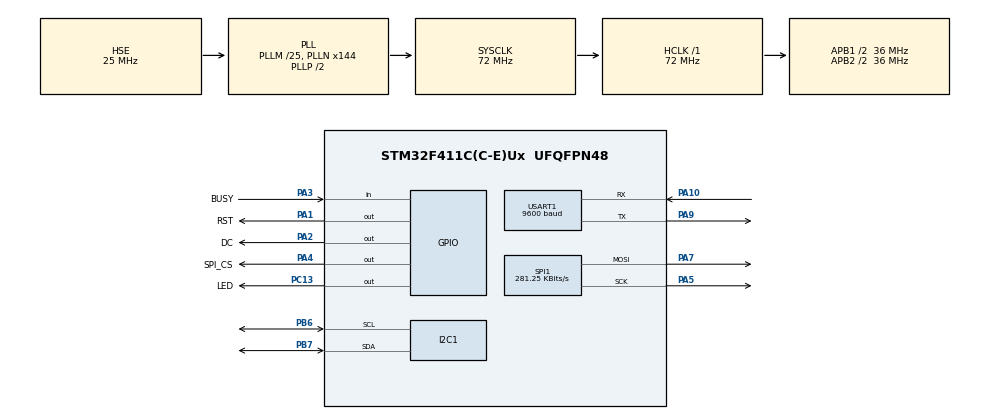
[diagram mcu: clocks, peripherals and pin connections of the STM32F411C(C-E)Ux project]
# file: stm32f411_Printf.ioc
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Mcu.Family=STM32F4
Mcu.Name=STM32F411C(C-E)Ux
Mcu.Package=UFQFPN48
NVIC.PriorityGroup=NVIC_PRIORITYGROUP_4
NVIC.USART1_IRQn=true\:0\:0\:false\:false\:true\:true\:true\:true
PA1.GPIO_Label=RST
PA1.Signal=GPIO_Output
PA10.Mode=Asynchronous
PA10.Signal=USART1_RX
PA13.Mode=Serial_Wire
PA13.Signal=SYS_JTMS-SWDIO
PA14.Mode=Serial_Wire
PA14.Signal=SYS_JTCK-SWCLK
PA2.GPIO_Label=DC
PA2.Signal=GPIO_Output
PA3.GPIO_Label=BUSY
PA3.Signal=GPIO_Input
PA4.GPIO_Label=SPI_CS
PA4.Signal=GPIO_Output
PA5.Mode=TX_Only_Simplex_Unidirect_Master
PA5.Signal=SPI1_SCK
PA7.Mode=TX_Only_Simplex_Unidirect_Master
PA7.Signal=SPI1_MOSI
PA9.Mode=Asynchronous
PA9.Signal=USART1_TX
PB6.Mode=I2C
PB6.Signal=I2C1_SCL
PB7.Mode=I2C
PB7.Signal=I2C1_SDA
PC13-ANTI_TAMP.GPIO_Label=LED
PC13-ANTI_TAMP.PinState=GPIO_PIN_SET
PC13-ANTI_TAMP.Signal=GPIO_Output
PC14-OSC32_IN.Mode=LSE-External-Oscillator
PC14-OSC32_IN.Signal=RCC_OSC32_IN
PC15-OSC32_OUT.Mode=LSE-External-Oscillator
PC15-OSC32_OUT.Signal=RCC_OSC32_OUT
PH0\ -\ OSC_IN.Mode=HSE-External-Oscillator
PH0\ -\ OSC_IN.Signal=RCC_OSC_IN
PH1\ -\ OSC_OUT.Mode=HSE-External-Oscillator
PH1\ -\ OSC_OUT.Signal=RCC_OSC_OUT
ProjectManager.HeapSize=0x800
ProjectManager.StackSize=0x400
ProjectManager.TargetToolchain=STM32CubeIDE
RCC.48MHZClocksFreq_Value=28800000
RCC.AHBFreq_Value=72000000
RCC.APB1CLKDivider=RCC_HCLK_DIV2
RCC.APB1Freq_Value=36000000
RCC.APB1TimFreq_Value=72000000
RCC.APB2CLKDivider=RCC_HCLK_DIV2
RCC.APB2Freq_Value=36000000
RCC.APB2TimFreq_Value=72000000
RCC.CortexFreq_Value=72000000
RCC.HCLKFreq_Value=72000000
RCC.HSE_VALUE=25000000
RCC.HSI_VALUE=16000000
RCC.PLLM=25
RCC.PLLN=144
RCC.PLLQ=5
RCC.PLLSourceVirtual=RCC_PLLSOURCE_HSE
RCC.RCC_RTC_Clock_Source=RCC_RTCCLKSOURCE_LSI
RCC.RCC_RTC_Clock_SourceVirtual=RCC_RTCCLKSOURCE_LSE
RCC.SYSCLKFreq_VALUE=72000000
RCC.SYSCLKSource=RCC_SYSCLKSOURCE_PLLCLK
RCC.VCOOutputFreq_Value=144000000
SPI1.BaudRatePrescaler=SPI_BAUDRATEPRESCALER_128
SPI1.CalculateBaudRate=281.25 KBits/s
SPI1.Direction=SPI_DIRECTION_2LINES
SPI1.Mode=SPI_MODE_MASTER
SPI1.VirtualType=VM_MASTER
USART1.BaudRate=9600
USART1.Mode=MODE_RX
USART1.VirtualMode=VM_ASYNC
VP_RTC_VS_RTC_Activate.Mode=RTC_Enabled
board=custom

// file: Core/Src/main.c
/* USER CODE BEGIN Header */
/**
  ******************************************************************************
  * @file           : main.c
  * @brief          : Main program body
  ******************************************************************************
  * @attention
  *
  * <h2><center>&copy; Copyright (c) 2019 STMicroelectronics.
  * All rights reserved.</center></h2>
  *
  * This software component is licensed by ST under Ultimate Liberty license
  * SLA0044, the "License"; You may not use this file except in compliance with
  * the License. You may obtain a copy of the License at:
  *                             www.st.com/SLA0044
  *
  ******************************************************************************
  */
/* USER CODE END Header */
#include "main.h"
#include "i2c.h"
#include "rtc.h"
#include "spi.h"
#include "usart.h"
#include "gpio.h"

/* USER CODE BEGIN Includes */
#include "EPD_Test.h"
#include "EpaperDisplay.h"
#include "string.h"
/* USER CODE END Includes */

/* USER CODE BEGIN PTD */
#ifdef __GNUC__
/* With GCC, small printf (option LD Linker->Libraries->Small printf
   set to 'Yes') calls __io_putchar() */
#define PUTCHAR_PROTOTYPE int __io_putchar(int ch)
#else
#define PUTCHAR_PROTOTYPE int fputc(int ch, FILE *f)
#endif /* __GNUC__ */

/**
  * @brief  Retargets the C library printf function to the USART.
  * @param  None
  * @retval None
  */
PUTCHAR_PROTOTYPE
{
  /* Place your implementation of fputc here */
  /* e.g. write a character to the USART3 and Loop until the end of transmission */
  //HAL_UART_Transmit(&huart1, (uint8_t *)&ch, 1, 0xFFFF);

  return ch;
}
/* USER CODE END PTD */

/* USER CODE BEGIN PD */

uint8_t dataArray[32];

/* USER CODE END PD */

void SystemClock_Config(void);

/* USER CODE BEGIN 0 */
 /*
  *power by WeAct Studio
  *The board with `WeAct` Logo && `version number` is our board, quality guarantee.
  *For more information please visit: https://github.com/WeActTC/MiniF4-STM32F4x1
  *更多信�?�请访问：https://gitee.com/WeActTC/MiniF4-STM32F4x1
  */

void HAL_UART_RxCpltCallback(UART_HandleTypeDef *huart) {
    if (huart == &huart1) {
        // Process received data
        // For example, you can print the received data to a terminal

        // Restart the UART reception
        HAL_UART_Receive_IT(&huart1, dataArray, 32);
    }
}
/* USER CODE END 0 */

int main(void)
{

  /* MCU Configuration--------------------------------------------------------*/

  /* Reset of all peripherals, Initializes the Flash interface and the Systick. */
  HAL_Init();

  /* Configure the system clock */
  SystemClock_Config();

  /* Initialize all configured peripherals */
  MX_GPIO_Init();
  MX_RTC_Init();
  MX_I2C1_Init();
  MX_SPI1_Init();
  MX_USART1_UART_Init();
  /* USER CODE BEGIN 2 */
  //EPD_4in2_test();

  /* USER CODE END 2 */

  /* Infinite loop */
  /* USER CODE BEGIN WHILE */

  HAL_Delay(5000);
  uint8_t value = 0;
  while (1)
  {
//	  displayData(dataArray[value]);
//	  HAL_Delay(10000);
//	  value++;
    /* USER CODE END WHILE */

  }
}

void SystemClock_Config(void)
{
  RCC_OscInitTypeDef RCC_OscInitStruct = {0};
  RCC_ClkInitTypeDef RCC_ClkInitStruct = {0};

  /** Configure the main internal regulator output voltage
  */
  __HAL_RCC_PWR_CLK_ENABLE();
  __HAL_PWR_VOLTAGESCALING_CONFIG(PWR_REGULATOR_VOLTAGE_SCALE1);

  /** Initializes the RCC Oscillators according to the specified parameters
  * in the RCC_OscInitTypeDef structure.
  */
  RCC_OscInitStruct.OscillatorType = RCC_OSCILLATORTYPE_LSI|RCC_OSCILLATORTYPE_HSE;
  RCC_OscInitStruct.HSEState = RCC_HSE_ON;
  RCC_OscInitStruct.LSIState = RCC_LSI_ON;
  RCC_OscInitStruct.PLL.PLLState = RCC_PLL_ON;
  RCC_OscInitStruct.PLL.PLLSource = RCC_PLLSOURCE_HSE;
  RCC_OscInitStruct.PLL.PLLM = 25;
  RCC_OscInitStruct.PLL.PLLN = 144;
  RCC_OscInitStruct.PLL.PLLP = RCC_PLLP_DIV2;
  RCC_OscInitStruct.PLL.PLLQ = 5;
  if (HAL_RCC_OscConfig(&RCC_OscInitStruct) != HAL_OK)
  {
    Error_Handler();
  }

  /** Initializes the CPU, AHB and APB buses clocks
  */
  RCC_ClkInitStruct.ClockType = RCC_CLOCKTYPE_HCLK|RCC_CLOCKTYPE_SYSCLK
                              |RCC_CLOCKTYPE_PCLK1|RCC_CLOCKTYPE_PCLK2;
  RCC_ClkInitStruct.SYSCLKSource = RCC_SYSCLKSOURCE_PLLCLK;
  RCC_ClkInitStruct.AHBCLKDivider = RCC_SYSCLK_DIV1;
  RCC_ClkInitStruct.APB1CLKDivider = RCC_HCLK_DIV2;
  RCC_ClkInitStruct.APB2CLKDivider = RCC_HCLK_DIV2;

  if (HAL_RCC_ClockConfig(&RCC_ClkInitStruct, FLASH_LATENCY_2) != HAL_OK)
  {
    Error_Handler();
  }
}

void Error_Handler(void)
{
  /* USER CODE BEGIN Error_Handler_Debug */
  /* User can add his own implementation to report the HAL error return state */
	HAL_GPIO_TogglePin(LED_GPIO_Port, LED_Pin);
	HAL_Delay(1000);
  /* USER CODE END Error_Handler_Debug */
}
